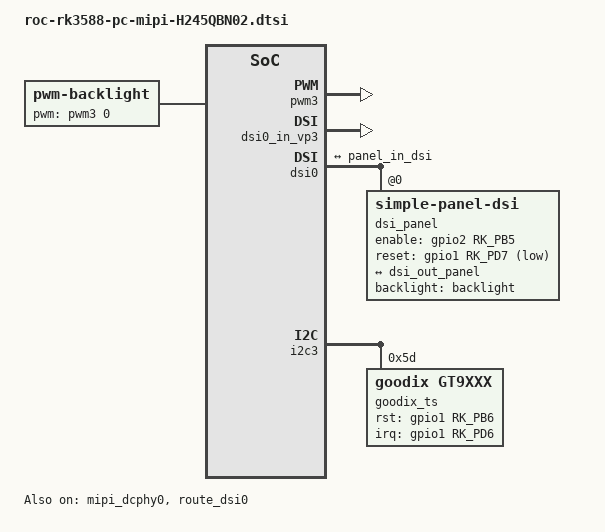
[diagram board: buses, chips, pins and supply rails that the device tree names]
/ {
    backlight: backlight {
        status = "okay";
        compatible = "pwm-backlight";
        //enable-gpios = <&gpio3 RK_PD4 GPIO_ACTIVE_HIGH>;
        pwms = <&pwm3 0 50000 0>;
        brightness-levels = <
             60  60  60  61  61  61  62  62
             62  63  63  63  64  64  64  65
             65  65  66  66  66  67  67  67
             68  68  68  69  69  69  70  70
             70  71  71  71  72  72  72  73
             73  73  74  74  74  75  75  75
             76  76  76  77  77  77  78  78
             78  79  79  79  80  80  80  81
             81  81  82  82  82  83  83  83
             84  84  84  85  85  85  86  86
             86  87  87  87  88  88  88  89
             89  89  90  91  92  93  94  95
             96  97  98  99 100 101 102 103
            104 105 106 107 108 109 110 111
            112 113 114 115 116 117 118 119
            120 121 122 123 124 125 126 127
            128 129 130 131 132 133 134 135
            136 137 138 139 140 141 142 143
            144 145 146 147 148 149 150 151
            152 153 154 155 156 157 158 159
            160 161 162 163 164 165 166 167
            168 169 170 171 172 173 174 175
            176 177 178 179 180 181 182 183
            184 185 186 187 188 189 190 191
            192 193 194 195 196 197 198 199
            200 201 202 203 204 205 206 207
            208 209 210 211 212 213 214 215
            216 217 218 219 220 221 222 223
            224 225 226 227 228 229 230 231
            232 233 234 235 236 237 238 239
            240 241 242 243 244 245 246 247
            248 249 250 251 252 253 254 255
        >;
        default-brightness-level = <150>;
    };


};



/* uart7 */
&uart7 {
	status = "disabled";
	pinctrl-0 = <&uart7m0_xfer>;
};
&pwm3{
    pinctrl-0 = <&pwm3m3_pins>;
    status = "okay";
};

/*
 * mipi_dcphy0 needs to be enabled
 * when dsi0 is enabled
 */
&mipi_dcphy0 {
    status = "okay";
};

&dsi0_in_vp2 {
    status = "disabled";
};

&dsi0_in_vp3 {
    status = "okay";
};

&route_dsi0 {
    status = "okay";
    connect = <&vp3_out_dsi0>;
};
&dsi0 {
    status = "okay";
    //rockchip,lane-rate = <1000>;
    firefly-check;

#if 0
    pinctrl-names = "default";
    pinctrl-0 = <&mipi_te0_pins>;
    te-gpios = <&gpio3 RK_PD4 GPIO_ACTIVE_LOW>;
#endif

    dsi_panel: panel@0 {
        status = "okay";
        compatible = "simple-panel-dsi";
        reg = <0>;
        backlight = <&backlight>;
        
        enable-gpios = <&gpio2 RK_PB5 GPIO_ACTIVE_HIGH>;  
        reset-gpios = <&gpio1 RK_PD7 GPIO_ACTIVE_LOW>;  

        enable-delay-ms = <50>;
        prepare-delay-ms = <200>;
        reset-delay-ms = <50>;
        init-delay-ms = <55>;
        unprepare-delay-ms = <50>;
        disable-delay-ms = <20>;
        mipi-data-delay-ms = <200>;
        size,width = <120>;
        size,height = <170>;
        //dsi,flags = <(MIPI_DSI_MODE_VIDEO | MIPI_DSI_MODE_VIDEO_BURST | MIPI_DSI_MODE_LPM | MIPI_DSI_MODE_EOT_PACKET)>;
        dsi,flags = <(MIPI_DSI_MODE_LPM | MIPI_DSI_MODE_EOT_PACKET)>;
        dsi,format = <MIPI_DSI_FMT_RGB888>;
        dsi,lanes  = <1>;

        panel-init-sequence = [
            99 00 02 da fe
            05 64 01 11
            39 00 05 2A 00 00 00 EF
            39 00 05 2B 00 00 01 AF
            15 00 02 35 00
            05 00 01 11
            05 00 01 29
            39 00 03 BD 11 00
            39 00 03 BC 00 94
            39 00 03 BE 00 02
            05 00 01 2C
        ];

        panel-exit-sequence = [
            05 00 01 28
            05 00 01 10
        ];

        disp_timings0: display-timings {
            native-mode = <&dsi_timing0>;
            dsi_timing0: timing0 {
                clock-frequency = <9600000>;
                hactive = <240>;
                vactive = <432>;
                hsync-len = <2>;
                hback-porch = <52>;
                hfront-porch = <50>;
                vsync-len = <2>;
                vback-porch = <16>;
                vfront-porch = <14>;
                hsync-active = <0>;
                vsync-active = <0>;
                de-active = <0>;
                pixelclk-active = <0>;
            };
        };

        ports {
            #address-cells = <1>;
            #size-cells = <0>;

            port@0 {
                reg = <0>;
                panel_in_dsi: endpoint {
                    remote-endpoint = <&dsi_out_panel>;
                };
            };
        };
    };

    ports {
        #address-cells = <1>;
        #size-cells = <0>;

        port@1 {
            reg = <1>;
            dsi_out_panel: endpoint {
            remote-endpoint = <&panel_in_dsi>;
            };
        };
    };
};
&i2c3{
    status = "okay";
    pinctrl-names = "default";
    pinctrl-0 = <&i2c3m0_xfer>;

    goodix_ts@5d {
        status = "okay";
        compatible = "goodix,gt9xxx";
        reg = <0x5d>;
        interrupt-parent = <&gpio1>;
        //interrupts = <0 17 0x2008 0>;
        interrupts = <RK_PD6 IRQ_TYPE_LEVEL_LOW>;
        //goodix,pwr-gpio = <&pca9555 PCA_IO0_7 GPIO_ACTIVE_HIGH>;
        goodix,rst-gpio = <&gpio1 RK_PB6 GPIO_ACTIVE_HIGH>;
        goodix,irq-gpio = <&gpio1 RK_PD6 IRQ_TYPE_LEVEL_LOW>;
        flip-x = <0>;
        flip-y = <0>;

        goodix,cfg-group2 = [
            5B F0 00 B0 01 0A 05 00 01 08 
            28 07 50 32 03 05 00 00 00 00 
            00 00 00 00 00 00 00 89 20 05 
            38 30 31 0D 00 00 01 B9 03 2D 
            00 01 00 00 00 03 64 32 00 00 
            00 1D 41 94 C5 02 07 00 00 04 
            A7 1F 00 95 25 00 89 2B 00 7D 
            33 00 73 3C 00 73 00 00 00 00 
            00 00 00 00 00 00 00 00 00 00 
            00 00 00 00 00 00 00 00 00 00 
            00 00 00 00 00 00 00 00 00 00 
            00 00 02 04 06 08 0A FF FF FF 
            FF FF FF FF FF FF 00 00 00 00 
            00 00 00 00 00 00 00 00 00 00 
            00 00 10 0F 0C 0A 08 06 04 02 
            00 FF FF FF FF FF FF FF FF FF 
            FF FF FF FF FF FF FF FF 00 00 
            00 00 00 00 00 00 00 00 00 00 
            00 00 00 00 44 01
        ];
    };
};

&pinctrl {
    touch {
        touch_int0: touch-int0 {
            rockchip,pins = <1 RK_PD6 RK_FUNC_GPIO &pcfg_pull_up>;
        };
    };
    /*
    mipi {
        mipi_te0_pins: mipi-te0-pins {
            rockchip,pins = <3 RK_PD4 RK_FUNC_GPIO &pcfg_pull_none>;
        };
    };
    */
};
